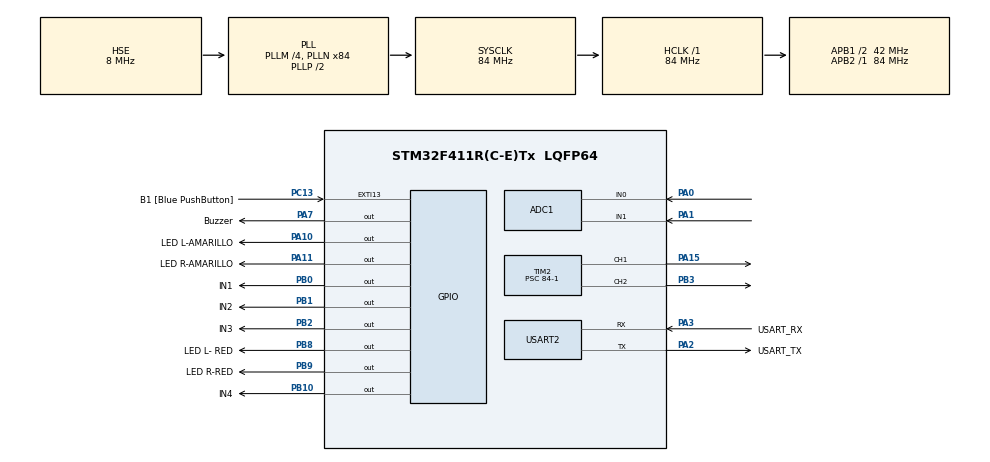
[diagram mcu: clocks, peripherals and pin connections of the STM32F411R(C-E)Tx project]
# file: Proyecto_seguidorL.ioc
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ADC1.Channel-0\#ChannelRegularConversion=ADC_CHANNEL_0
ADC1.Channel-1\#ChannelRegularConversion=ADC_CHANNEL_1
ADC1.ContinuousConvMode=ENABLE
ADC1.DMAContinuousRequests=ENABLE
ADC1.EOCSelection=ADC_EOC_SINGLE_CONV
ADC1.NbrOfConversion=2
ADC1.NbrOfConversionFlag=1
ADC1.Rank-0\#ChannelRegularConversion=1
ADC1.Rank-1\#ChannelRegularConversion=2
ADC1.SamplingTime-0\#ChannelRegularConversion=ADC_SAMPLETIME_84CYCLES
ADC1.SamplingTime-1\#ChannelRegularConversion=ADC_SAMPLETIME_84CYCLES
ADC1.ScanConvMode=ENABLE
ADC1.master=1
Dma.ADC1.0.Direction=DMA_PERIPH_TO_MEMORY
Dma.ADC1.0.FIFOMode=DMA_FIFOMODE_DISABLE
Dma.ADC1.0.Instance=DMA2_Stream0
Dma.ADC1.0.MemDataAlignment=DMA_MDATAALIGN_HALFWORD
Dma.ADC1.0.MemInc=DMA_MINC_ENABLE
Dma.ADC1.0.Mode=DMA_CIRCULAR
Dma.ADC1.0.PeriphDataAlignment=DMA_PDATAALIGN_HALFWORD
Dma.ADC1.0.PeriphInc=DMA_PINC_DISABLE
Dma.ADC1.0.Priority=DMA_PRIORITY_MEDIUM
Dma.Request0=ADC1
Mcu.Family=STM32F4
Mcu.Name=STM32F411R(C-E)Tx
Mcu.Package=LQFP64
NVIC.DMA2_Stream0_IRQn=true\:0\:0\:false\:false\:true\:false\:true\:true
NVIC.PriorityGroup=NVIC_PRIORITYGROUP_0
PA0-WKUP.Signal=ADCx_IN0
PA1.Signal=ADCx_IN1
PA10.GPIO_Label=LED L-AMARILLO
PA10.Signal=GPIO_Output
PA11.GPIO_Label=LED R-AMARILLO
PA11.Signal=GPIO_Output
PA13.GPIO_Label=TMS
PA13.Mode=Serial_Wire
PA13.Signal=SYS_JTMS-SWDIO
PA14.GPIO_Label=TCK
PA14.Mode=Serial_Wire
PA14.Signal=SYS_JTCK-SWCLK
PA15.Signal=S_TIM2_CH1_ETR
PA2.GPIO_Label=USART_TX
PA2.Mode=Asynchronous
PA2.Signal=USART2_TX
PA3.GPIO_Label=USART_RX
PA3.Mode=Asynchronous
PA3.Signal=USART2_RX
PA7.GPIO_Label=Buzzer
PA7.Signal=GPIO_Output
PB0.GPIO_Label=IN1
PB0.Signal=GPIO_Output
PB1.GPIO_Label=IN2
PB1.Signal=GPIO_Output
PB10.GPIO_Label=IN4
PB10.Signal=GPIO_Output
PB2.GPIO_Label=IN3
PB2.Signal=GPIO_Output
PB3.Signal=S_TIM2_CH2
PB8.GPIO_Label=LED L- RED
PB8.GPIO_PuPd=GPIO_NOPULL
PB8.Signal=GPIO_Output
PB9.GPIO_Label=LED R-RED
PB9.GPIO_PuPd=GPIO_NOPULL
PB9.Signal=GPIO_Output
PC13-ANTI_TAMP.GPIO_Label=B1 [Blue PushButton]
PC13-ANTI_TAMP.GPIO_ModeDefaultEXTI=GPIO_MODE_IT_FALLING
PC13-ANTI_TAMP.Signal=GPXTI13
PC14-OSC32_IN.Mode=LSE-External-Oscillator
PC14-OSC32_IN.Signal=RCC_OSC32_IN
PC15-OSC32_OUT.Mode=LSE-External-Oscillator
PC15-OSC32_OUT.Signal=RCC_OSC32_OUT
PH0\ -\ OSC_IN.Mode=HSE-External-Oscillator
PH0\ -\ OSC_IN.Signal=RCC_OSC_IN
PH1\ -\ OSC_OUT.Mode=HSE-External-Oscillator
PH1\ -\ OSC_OUT.Signal=RCC_OSC_OUT
ProjectManager.HeapSize=0x200
ProjectManager.StackSize=0x400
ProjectManager.TargetToolchain=STM32CubeIDE
RCC.48MHZClocksFreq_Value=42000000
RCC.AHBFreq_Value=84000000
RCC.APB1CLKDivider=RCC_HCLK_DIV2
RCC.APB1Freq_Value=42000000
RCC.APB1TimFreq_Value=84000000
RCC.APB2Freq_Value=84000000
RCC.APB2TimFreq_Value=84000000
RCC.CortexFreq_Value=84000000
RCC.FLatency-AdvancedSettings=FLASH_LATENCY_2
RCC.HCLKFreq_Value=84000000
RCC.HSE_VALUE=8000000
RCC.HSI_VALUE=16000000
RCC.PLLM=4
RCC.PLLN=84
RCC.PLLSourceVirtual=RCC_PLLSOURCE_HSE
RCC.SYSCLKFreq_VALUE=84000000
RCC.SYSCLKSource=RCC_SYSCLKSOURCE_PLLCLK
RCC.VCOOutputFreq_Value=168000000
SH.ADCx_IN0.0=ADC1_IN0,IN0
SH.ADCx_IN1.0=ADC1_IN1,IN1
SH.S_TIM2_CH1_ETR.0=TIM2_CH1,PWM Generation1 CH1
SH.S_TIM2_CH2.0=TIM2_CH2,PWM Generation2 CH2
TIM2.AutoReloadPreload=TIM_AUTORELOAD_PRELOAD_ENABLE
TIM2.Channel-PWM\ Generation1\ CH1=TIM_CHANNEL_1
TIM2.Channel-PWM\ Generation2\ CH2=TIM_CHANNEL_2
TIM2.Period=1000-1
TIM2.Prescaler=84-1
USART2.VirtualMode=VM_ASYNC
VP_TIM2_VS_ClockSourceINT.Mode=Internal
board=NUCLEO-F411RE

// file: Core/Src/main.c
/* USER CODE BEGIN Header */
/**
  ******************************************************************************
  * @file           : main.c
  * @brief          : Main program body
  ******************************************************************************
  * @attention
  *
  * Copyright (c) 2025 STMicroelectronics.
  * All rights reserved.
  *
  * This software is licensed under terms that can be found in the LICENSE file
  * in the root directory of this software component.
  * If no LICENSE file comes with this software, it is provided AS-IS.
  *
  ******************************************************************************
  */
/* USER CODE END Header */
#include "main.h"

/* USER CODE BEGIN Includes */
#include "stdio.h"
#include "math.h"
#include <stdlib.h>
#include <stdint.h>
#include <stdbool.h>
/* USER CODE END Includes */

/* USER CODE BEGIN PD */
// Motores (dirección L298N)
#define IN1_PIN     GPIO_PIN_0   // PB0  Motor A
#define IN2_PIN     GPIO_PIN_1   // PB1
#define IN3_PIN     GPIO_PIN_2   // PB2  Motor B
#define IN4_PIN     GPIO_PIN_10  // PB10
#define MOTOR_PORT  GPIOB

// LEDs
#define LED_R_IZQ   GPIO_PIN_8   // PB8
#define LED_R_DER   GPIO_PIN_9   // PB9
#define LED_AM_I    GPIO_PIN_10  // PA10
#define LED_AM_D    GPIO_PIN_11  // PA11
/* USER CODE END PD */

ADC_HandleTypeDef hadc1;
DMA_HandleTypeDef hdma_adc1;

TIM_HandleTypeDef htim2;

UART_HandleTypeDef huart2;

/* USER CODE BEGIN PV */
volatile uint16_t sensorValue[2]={0};    // aquí guardamos las lecturas del DMA
volatile uint8_t adc_ready_flag = 0;  // bandera para la interrupción

/* USER CODE END PV */

void SystemClock_Config(void);
static void MX_GPIO_Init(void);
static void MX_DMA_Init(void);
static void MX_USART2_UART_Init(void);
static void MX_TIM2_Init(void);
static void MX_ADC1_Init(void);
/* USER CODE BEGIN PFP */
int uart2_write(int ch);
int __io_putchar(int ch);
void MotorA_Set(int16_t speed);
void MotorB_Set(int16_t speed);
/* USER CODE END PFP */

int main(void)
{

  /* MCU Configuration--------------------------------------------------------*/

  /* Reset of all peripherals, Initializes the Flash interface and the Systick. */
  HAL_Init();

  /* Configure the system clock */
  SystemClock_Config();

  /* Initialize all configured peripherals */
  MX_GPIO_Init();
  MX_DMA_Init();
  MX_USART2_UART_Init();
  MX_TIM2_Init();
  MX_ADC1_Init();
  /* USER CODE BEGIN 2 */
  /* Inicia PWM */
  HAL_TIM_PWM_Start(&htim2, TIM_CHANNEL_1);
  HAL_TIM_PWM_Start(&htim2, TIM_CHANNEL_2);

  HAL_ADC_Start_DMA(&hadc1, (uint32_t*)sensorValue, 2);

  //Buzzer
  HAL_GPIO_WritePin(GPIOA, Buzzer_Pin, GPIO_PIN_SET);
  HAL_Delay(1500);
  HAL_GPIO_WritePin(GPIOA, Buzzer_Pin, GPIO_PIN_RESET);

  //Buzzer beep beep
 /* for(int i = 0; i < 2; i++)
   {
       HAL_GPIO_WritePin(GPIOA, Buzzer_Pin, GPIO_PIN_SET);
       HAL_Delay(150);
       HAL_GPIO_WritePin(GPIOA, Buzzer_Pin, GPIO_PIN_RESET);
       HAL_Delay(150);
   }*/
  /* USER CODE END 2 */

  /* Infinite loop */
  while (1)
  {

    /* USER CODE BEGIN 3 */

	  if(adc_ready_flag){
			  adc_ready_flag=0; //reiniciamos la bandera

			  //IZQUIERZA
			  if(sensorValue[0]>2000){
				  HAL_GPIO_WritePin(GPIOA, LED_L_AMARILLO_Pin, GPIO_PIN_SET);
				  HAL_GPIO_WritePin(GPIOB, LED_L__RED_Pin, GPIO_PIN_RESET);

			  }else{
				  HAL_GPIO_WritePin(GPIOA,LED_L_AMARILLO_Pin, GPIO_PIN_RESET);
				  HAL_GPIO_WritePin(GPIOB, LED_L__RED_Pin, GPIO_PIN_SET);
			  }

			  //DERECHA
			  if(sensorValue[1]>2000){
				  HAL_GPIO_WritePin(GPIOA, LED_R_AMARILLO_Pin, GPIO_PIN_SET);
				  HAL_GPIO_WritePin(GPIOB, LED_R_RED_Pin, GPIO_PIN_RESET);
			  }else{
				  HAL_GPIO_WritePin(GPIOA, LED_R_AMARILLO_Pin, GPIO_PIN_RESET);
				  HAL_GPIO_WritePin(GPIOB, LED_R_RED_Pin, GPIO_PIN_SET);
			  }

			printf("lectura: %d, cny2: %d \n\r",sensorValue[0],sensorValue[1]);

			// Avanza
						    if (sensorValue[0] < 2000 && sensorValue[1] < 2000) {
						    	MotorA_Set(50);
						        MotorB_Set(50);
						    }
						    //Gira a la derecha
						    else if (sensorValue[0] > 2000 && sensorValue[1] < 2000) {
						    	MotorA_Set(60);
						    	MotorB_Set(30);
						      }
						    //Gira a la izquierda
						    else if (sensorValue[0] < 2000 && sensorValue[1] > 2000) {
						    	MotorA_Set(30);
						    	MotorB_Set(60);
						      }
						    //Frena
						    else {
						    	MotorA_Set(0);
						    	MotorB_Set(0);
						    }

		  }
	  }
  /* USER CODE END 3 */
}

void SystemClock_Config(void)
{
  RCC_OscInitTypeDef RCC_OscInitStruct = {0};
  RCC_ClkInitTypeDef RCC_ClkInitStruct = {0};

  /** Configure the main internal regulator output voltage
  */
  __HAL_RCC_PWR_CLK_ENABLE();
  __HAL_PWR_VOLTAGESCALING_CONFIG(PWR_REGULATOR_VOLTAGE_SCALE1);

  /** Initializes the RCC Oscillators according to the specified parameters
  * in the RCC_OscInitTypeDef structure.
  */
  RCC_OscInitStruct.OscillatorType = RCC_OSCILLATORTYPE_HSE;
  RCC_OscInitStruct.HSEState = RCC_HSE_ON;
  RCC_OscInitStruct.PLL.PLLState = RCC_PLL_ON;
  RCC_OscInitStruct.PLL.PLLSource = RCC_PLLSOURCE_HSE;
  RCC_OscInitStruct.PLL.PLLM = 4;
  RCC_OscInitStruct.PLL.PLLN = 84;
  RCC_OscInitStruct.PLL.PLLP = RCC_PLLP_DIV2;
  RCC_OscInitStruct.PLL.PLLQ = 4;
  if (HAL_RCC_OscConfig(&RCC_OscInitStruct) != HAL_OK)
  {
    Error_Handler();
  }

  /** Initializes the CPU, AHB and APB buses clocks
  */
  RCC_ClkInitStruct.ClockType = RCC_CLOCKTYPE_HCLK|RCC_CLOCKTYPE_SYSCLK
                              |RCC_CLOCKTYPE_PCLK1|RCC_CLOCKTYPE_PCLK2;
  RCC_ClkInitStruct.SYSCLKSource = RCC_SYSCLKSOURCE_PLLCLK;
  RCC_ClkInitStruct.AHBCLKDivider = RCC_SYSCLK_DIV1;
  RCC_ClkInitStruct.APB1CLKDivider = RCC_HCLK_DIV2;
  RCC_ClkInitStruct.APB2CLKDivider = RCC_HCLK_DIV1;

  if (HAL_RCC_ClockConfig(&RCC_ClkInitStruct, FLASH_LATENCY_2) != HAL_OK)
  {
    Error_Handler();
  }
}

static void MX_ADC1_Init(void)
{

  ADC_ChannelConfTypeDef sConfig = {0};

  /** Configure the global features of the ADC (Clock, Resolution, Data Alignment and number of conversion)
  */
  hadc1.Instance = ADC1;
  hadc1.Init.ClockPrescaler = ADC_CLOCK_SYNC_PCLK_DIV4;
  hadc1.Init.Resolution = ADC_RESOLUTION_12B;
  hadc1.Init.ScanConvMode = ENABLE;
  hadc1.Init.ContinuousConvMode = ENABLE;
  hadc1.Init.DiscontinuousConvMode = DISABLE;
  hadc1.Init.ExternalTrigConvEdge = ADC_EXTERNALTRIGCONVEDGE_NONE;
  hadc1.Init.ExternalTrigConv = ADC_SOFTWARE_START;
  hadc1.Init.DataAlign = ADC_DATAALIGN_RIGHT;
  hadc1.Init.NbrOfConversion = 2;
  hadc1.Init.DMAContinuousRequests = ENABLE;
  hadc1.Init.EOCSelection = ADC_EOC_SINGLE_CONV;
  if (HAL_ADC_Init(&hadc1) != HAL_OK)
  {
    Error_Handler();
  }

  /** Configure for the selected ADC regular channel its corresponding rank in the sequencer and its sample time.
  */
  sConfig.Channel = ADC_CHANNEL_0;
  sConfig.Rank = 1;
  sConfig.SamplingTime = ADC_SAMPLETIME_84CYCLES;
  if (HAL_ADC_ConfigChannel(&hadc1, &sConfig) != HAL_OK)
  {
    Error_Handler();
  }

  /** Configure for the selected ADC regular channel its corresponding rank in the sequencer and its sample time.
  */
  sConfig.Channel = ADC_CHANNEL_1;
  sConfig.Rank = 2;
  if (HAL_ADC_ConfigChannel(&hadc1, &sConfig) != HAL_OK)
  {
    Error_Handler();
  }

}

static void MX_TIM2_Init(void)
{

  TIM_ClockConfigTypeDef sClockSourceConfig = {0};
  TIM_MasterConfigTypeDef sMasterConfig = {0};
  TIM_OC_InitTypeDef sConfigOC = {0};

  htim2.Instance = TIM2;
  htim2.Init.Prescaler = 84-1;
  htim2.Init.CounterMode = TIM_COUNTERMODE_UP;
  htim2.Init.Period = 1000-1;
  htim2.Init.ClockDivision = TIM_CLOCKDIVISION_DIV1;
  htim2.Init.AutoReloadPreload = TIM_AUTORELOAD_PRELOAD_ENABLE;
  if (HAL_TIM_Base_Init(&htim2) != HAL_OK)
  {
    Error_Handler();
  }
  sClockSourceConfig.ClockSource = TIM_CLOCKSOURCE_INTERNAL;
  if (HAL_TIM_ConfigClockSource(&htim2, &sClockSourceConfig) != HAL_OK)
  {
    Error_Handler();
  }
  if (HAL_TIM_PWM_Init(&htim2) != HAL_OK)
  {
    Error_Handler();
  }
  sMasterConfig.MasterOutputTrigger = TIM_TRGO_RESET;
  sMasterConfig.MasterSlaveMode = TIM_MASTERSLAVEMODE_DISABLE;
  if (HAL_TIMEx_MasterConfigSynchronization(&htim2, &sMasterConfig) != HAL_OK)
  {
    Error_Handler();
  }
  sConfigOC.OCMode = TIM_OCMODE_PWM1;
  sConfigOC.Pulse = 0;
  sConfigOC.OCPolarity = TIM_OCPOLARITY_HIGH;
  sConfigOC.OCFastMode = TIM_OCFAST_DISABLE;
  if (HAL_TIM_PWM_ConfigChannel(&htim2, &sConfigOC, TIM_CHANNEL_1) != HAL_OK)
  {
    Error_Handler();
  }
  if (HAL_TIM_PWM_ConfigChannel(&htim2, &sConfigOC, TIM_CHANNEL_2) != HAL_OK)
  {
    Error_Handler();
  }
  HAL_TIM_MspPostInit(&htim2);

}

static void MX_USART2_UART_Init(void)
{

  huart2.Instance = USART2;
  huart2.Init.BaudRate = 115200;
  huart2.Init.WordLength = UART_WORDLENGTH_8B;
  huart2.Init.StopBits = UART_STOPBITS_1;
  huart2.Init.Parity = UART_PARITY_NONE;
  huart2.Init.Mode = UART_MODE_TX_RX;
  huart2.Init.HwFlowCtl = UART_HWCONTROL_NONE;
  huart2.Init.OverSampling = UART_OVERSAMPLING_16;
  if (HAL_UART_Init(&huart2) != HAL_OK)
  {
    Error_Handler();
  }

}

static void MX_DMA_Init(void)
{

  /* DMA controller clock enable */
  __HAL_RCC_DMA2_CLK_ENABLE();

  /* DMA interrupt init */
  /* DMA2_Stream0_IRQn interrupt configuration */
  HAL_NVIC_SetPriority(DMA2_Stream0_IRQn, 0, 0);
  HAL_NVIC_EnableIRQ(DMA2_Stream0_IRQn);

}

static void MX_GPIO_Init(void)
{
  GPIO_InitTypeDef GPIO_InitStruct = {0};

  /* GPIO Ports Clock Enable */
  __HAL_RCC_GPIOC_CLK_ENABLE();
  __HAL_RCC_GPIOH_CLK_ENABLE();
  __HAL_RCC_GPIOA_CLK_ENABLE();
  __HAL_RCC_GPIOB_CLK_ENABLE();

  /*Configure GPIO pin Output Level */
  HAL_GPIO_WritePin(GPIOA, Buzzer_Pin|LED_L_AMARILLO_Pin|LED_R_AMARILLO_Pin, GPIO_PIN_RESET);

  /*Configure GPIO pin Output Level */
  HAL_GPIO_WritePin(GPIOB, IN1_Pin|IN2_Pin|IN3_Pin|IN4_Pin
                          |LED_L__RED_Pin|LED_R_RED_Pin, GPIO_PIN_RESET);

  /*Configure GPIO pin : B1_Pin */
  GPIO_InitStruct.Pin = B1_Pin;
  GPIO_InitStruct.Mode = GPIO_MODE_IT_FALLING;
  GPIO_InitStruct.Pull = GPIO_NOPULL;
  HAL_GPIO_Init(B1_GPIO_Port, &GPIO_InitStruct);

  /*Configure GPIO pins : Buzzer_Pin LED_L_AMARILLO_Pin LED_R_AMARILLO_Pin */
  GPIO_InitStruct.Pin = Buzzer_Pin|LED_L_AMARILLO_Pin|LED_R_AMARILLO_Pin;
  GPIO_InitStruct.Mode = GPIO_MODE_OUTPUT_PP;
  GPIO_InitStruct.Pull = GPIO_NOPULL;
  GPIO_InitStruct.Speed = GPIO_SPEED_FREQ_LOW;
  HAL_GPIO_Init(GPIOA, &GPIO_InitStruct);

  /*Configure GPIO pins : IN1_Pin IN2_Pin IN3_Pin IN4_Pin
                           LED_L__RED_Pin LED_R_RED_Pin */
  GPIO_InitStruct.Pin = IN1_Pin|IN2_Pin|IN3_Pin|IN4_Pin
                          |LED_L__RED_Pin|LED_R_RED_Pin;
  GPIO_InitStruct.Mode = GPIO_MODE_OUTPUT_PP;
  GPIO_InitStruct.Pull = GPIO_NOPULL;
  GPIO_InitStruct.Speed = GPIO_SPEED_FREQ_LOW;
  HAL_GPIO_Init(GPIOB, &GPIO_InitStruct);

}

/* USER CODE BEGIN 4 */

int uart2_write(int ch){
/*Make sure the transmit data register is empty*/
while(!(USART2->SR & USART_SR_TXE)){}
 /*Write to transmit data register*/
USART2->DR = (ch & 0xFF);
 return ch;
}

int __io_putchar(int ch){
 uart2_write(ch);
return ch;
 }

void MotorA_Set(int16_t speed)
{
    if (speed == 0) {
        HAL_GPIO_WritePin(MOTOR_PORT, IN1_PIN|IN2_PIN, GPIO_PIN_RESET);
        __HAL_TIM_SET_COMPARE(&htim2, TIM_CHANNEL_1, 0);
        return;
    }

    if (speed > 0) {
        HAL_GPIO_WritePin(MOTOR_PORT, IN1_PIN, GPIO_PIN_SET);
        HAL_GPIO_WritePin(MOTOR_PORT, IN2_PIN, GPIO_PIN_RESET);
    } else {
        HAL_GPIO_WritePin(MOTOR_PORT, IN1_PIN, GPIO_PIN_RESET);
        HAL_GPIO_WritePin(MOTOR_PORT, IN2_PIN, GPIO_PIN_SET);
    }

    uint32_t pwm = (uint32_t)(abs(speed) * 10);
    __HAL_TIM_SET_COMPARE(&htim2, TIM_CHANNEL_1, pwm);
}

void MotorB_Set(int16_t speed)
{
    if (speed == 0) {
        HAL_GPIO_WritePin(MOTOR_PORT, IN3_PIN|IN4_PIN, GPIO_PIN_RESET);
        __HAL_TIM_SET_COMPARE(&htim2, TIM_CHANNEL_2, 0);
        return;
    }

    if (speed > 0) {
        HAL_GPIO_WritePin(MOTOR_PORT, IN3_PIN, GPIO_PIN_SET);
        HAL_GPIO_WritePin(MOTOR_PORT, IN4_PIN, GPIO_PIN_RESET);
    } else {
        HAL_GPIO_WritePin(MOTOR_PORT, IN3_PIN, GPIO_PIN_RESET);
        HAL_GPIO_WritePin(MOTOR_PORT, IN4_PIN, GPIO_PIN_SET);
    }

    uint32_t pwm = (uint32_t)(abs(speed) * 10);
    __HAL_TIM_SET_COMPARE(&htim2, TIM_CHANNEL_2, pwm);
}

//interrupción que avisa cuando el DMA ha completado un ciclo
void HAL_ADC_ConvCpltCallback(ADC_HandleTypeDef* hadc)
{
    if (hadc->Instance == ADC1) //verificamos que ADC fue el que activo nuestra callback
    {
        adc_ready_flag = 1; // Marca que hay un dato nuevo disponible
    }
}

/* USER CODE END 4 */

void Error_Handler(void)
{
  __disable_irq();
  while (1)
  {
  }
}
